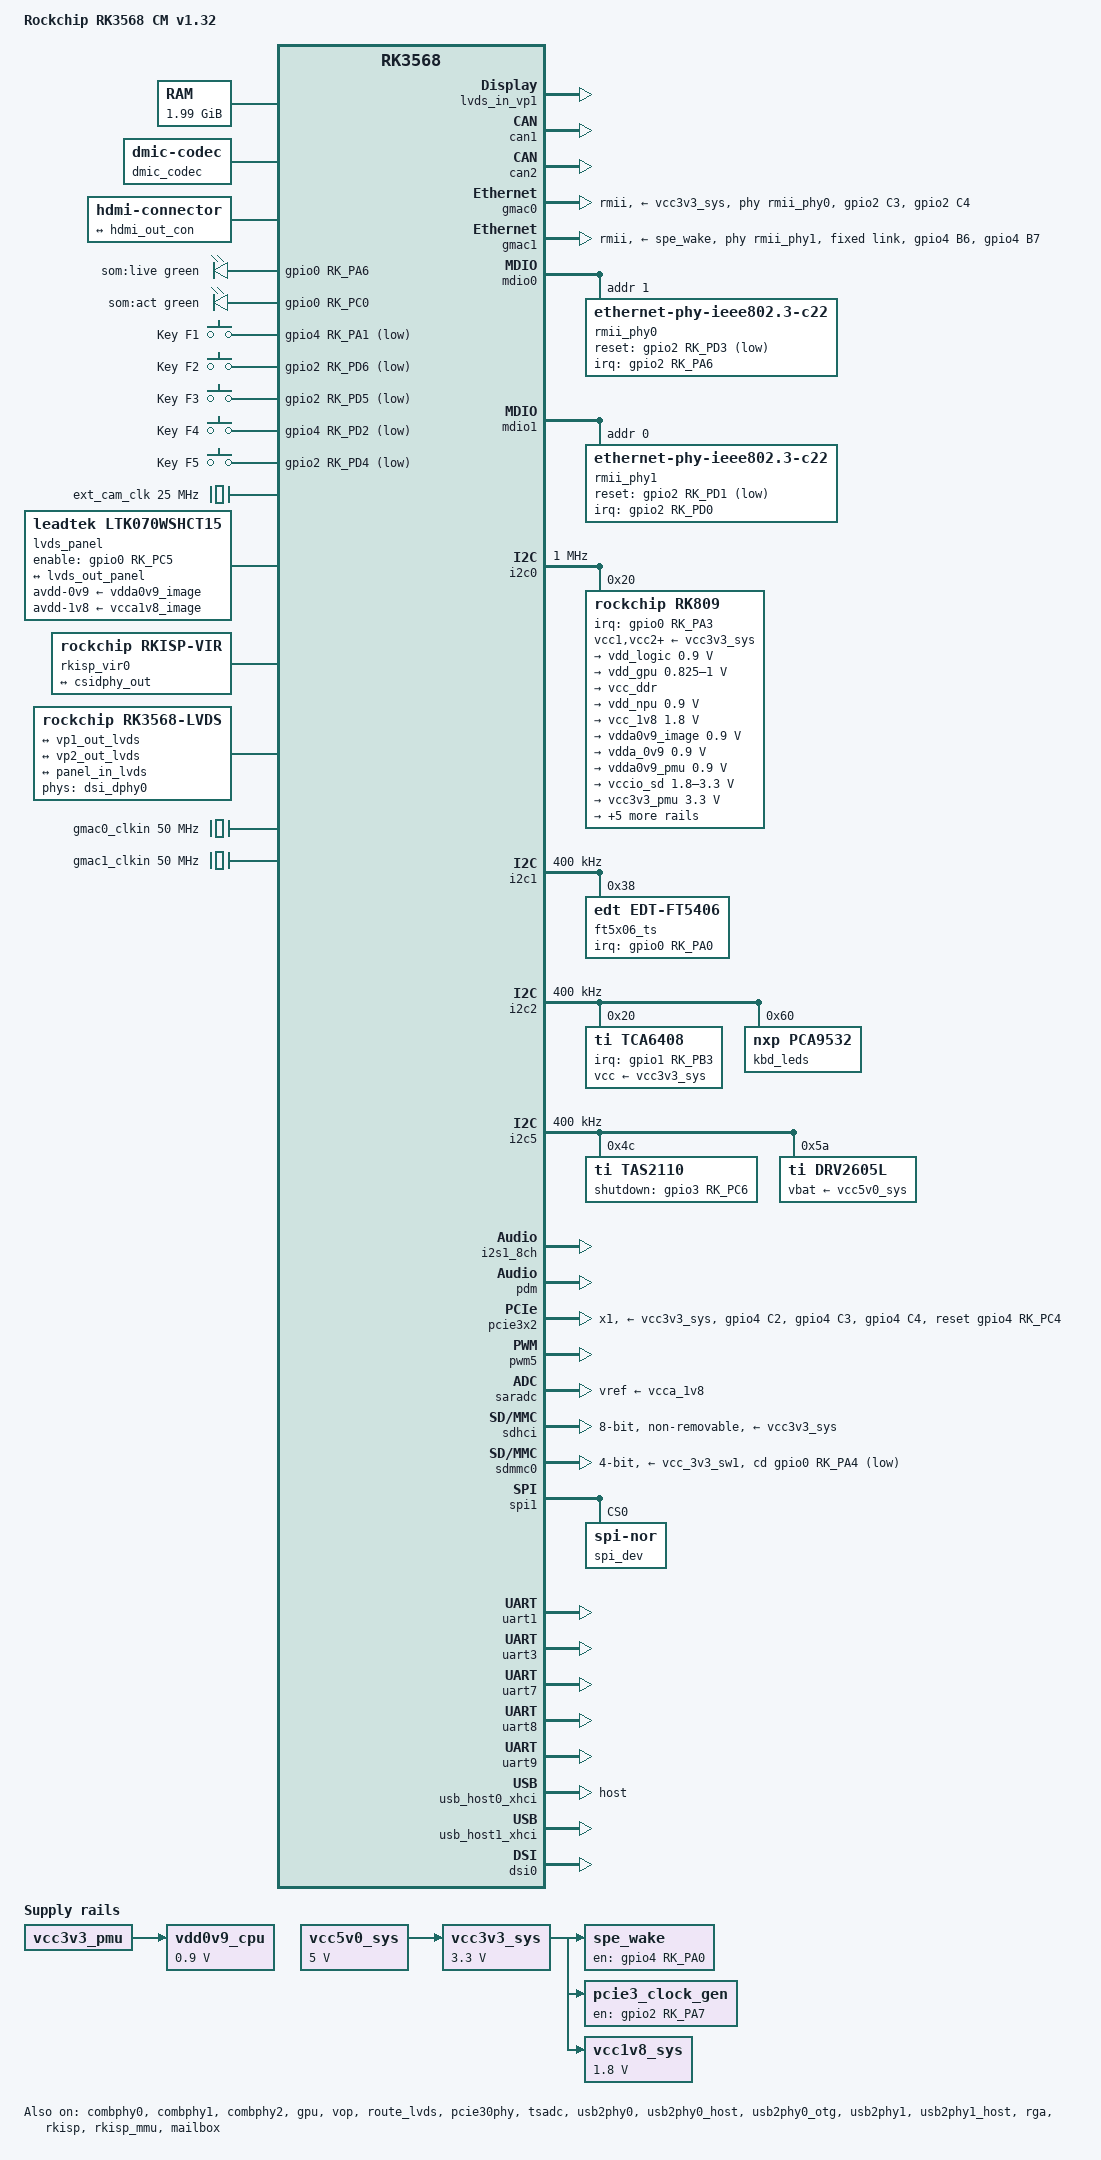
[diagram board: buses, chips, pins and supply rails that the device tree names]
/* SPDX-License-Identifier: GPL-2.0+ */
/* SPDX-FileCopyrightText: Alexander Shiyan <shc_work@mail.ru> */
/* SPDX-FileCopyrightText: Lapki */

/dts-v1/;

#include <dt-bindings/gpio/gpio.h>
#include <dt-bindings/leds/common.h>
#include <dt-bindings/pinctrl/rockchip.h>
#include <dt-bindings/soc/rockchip,vop2.h>
#include <dt-bindings/usb/pd.h>
#include "rk3568_tiny.dtsi"
//#include "rk3568-cdm-evb-options.dtsi"
#include <dt-bindings/leds/leds-pca9532.h>
#include <dt-bindings/display/media-bus-format.h> //new
#include <dt-bindings/input/ti-drv260x.h>

/ {
	model = "Rockchip RK3568 CM v1.32";
	compatible = "rockchip,rk3568";

	aliases {
		ethernet0 = &gmac0;
		ethernet1 = &gmac1;
		mmc0 = &sdmmc0;
		mmc1 = &sdhci;
	};

	fiq-debugger {
		compatible = "rockchip,fiq-debugger";
		rockchip,serial-id = <2>;
		rockchip,wake-irq = <0>;
		/* If enable uart uses irq instead of fiq */
		rockchip,irq-mode-enable = <1>;
		rockchip,baudrate = <1500000>;	/* Only 115200 and 1500000 */
		interrupts = <GIC_SPI 252 IRQ_TYPE_LEVEL_LOW>;
		pinctrl-names = "default";
		pinctrl-0 = <&uart2m0_xfer>;
		status = "okay";
	};

	debug: debug@fd904000 {
		compatible = "rockchip,debug";
		reg = <0x0 0xfd904000 0x0 0x1000>,
			<0x0 0xfd905000 0x0 0x1000>,
			<0x0 0xfd906000 0x0 0x1000>,
			<0x0 0xfd907000 0x0 0x1000>;
	};

	cspmu: cspmu@fd90c000 {
		compatible = "rockchip,cspmu";
		reg = <0x0 0xfd90c000 0x0 0x1000>,
			<0x0 0xfd90d000 0x0 0x1000>,
			<0x0 0xfd90e000 0x0 0x1000>,
			<0x0 0xfd90f000 0x0 0x1000>;
	};

	memory@a00000 {
		device_type = "memory";
		reg = <0x0 0x00a00000 0x0 0x7f600000>;
	};

	backlight: backlight {
		compatible = "pwm-backlight";
		pwms = <&pwm5 0 25000 0>;
//		brightness-levels = <0 255>;
		brightness-levels = <
			 60 60 60 61 61 61 62 62
			 62 63 63 63 64 64 64 65
			 65 65 66 66 66 67 67 67
			 68 68 68 69 69 69 70 70
			 70 71 71 71 72 72 72 73
			 73 73 74 74 74 75 75 75
			 76 76 76 77 77 77 78 78
			 78 79 79 79 80 80 80 81
			 81 81 82 82 82 83 83 83
			 84 84 84 85 85 85 86 86
			 86 87 87 87 88 88 88 89
			 89 89 90 91 92 93 94 95
			 96 97 98 99 100 101 102 103
			104 105 106 107 108 109 110 111
			112 113 114 115 116 117 118 119
			120 121 122 123 124 125 126 127
			128 129 130 131 132 133 134 135
			136 137 138 139 140 141 142 143
			144 145 146 147 148 149 150 151
			152 153 154 155 156 157 158 159
			160 161 162 163 164 165 166 167
			168 169 170 171 172 173 174 175
			176 177 178 179 180 181 182 183
			184 185 186 187 188 189 190 191
			192 193 194 195 196 197 198 199
			200 201 202 203 204 205 206 207
			208 209 210 211 212 213 214 215
			216 217 218 219 220 221 222 223
			224 225 226 227 228 229 230 231
			232 233 234 235 236 237 238 239
			240 241 242 243 244 245 246 247
			248 249 250 251 252 253 254 255
		>;

		num-interpolated-steps = <256>;
		default-brightness-level = <200>;

		status = "disabled";
	};

	dmic_codec: dmic-codec {
		status = "okay";
		compatible = "dmic-codec";
		num-channels = <1>;
		#sound-dai-cells = <0>;
	};

	sound0: tas2110-sound {
		status = "okay";
		compatible = "simple-audio-card";
		simple-audio-card,name = "Cranberry-speaker";
		simple-audio-card,format = "i2s";
		simple-audio-card,bitclock-master = <&sound0_cpu>;
		simple-audio-card,frame-master = <&sound0_cpu>;
		simple-audio-card,mclk-fs = <256>;
		simple-audio-card,bitclock-inversion;
		//simple-audio-card,convert-rate = <48000>;
		simple-audio-card,widgets = "Speaker", "Internal Speaker";
		simple-audio-card,routing = "Internal Speaker", "OUT";
		
		sound0_cpu: simple-audio-card,cpu {
				sound-dai = <&i2s1_8ch>;
			};

		simple-audio-card,codec {
				sound-dai = <&tas2110>;
		
		};
	};

	sound1: pdm-microphone {
		status = "okay";
		compatible = "simple-audio-card";
		simple-audio-card,name = "Cranberry-mic";
		simple-audio-card,format = "pdm";
		simple-audio-card,bitclock-master = <&sound1_cpu>;
		simple-audio-card,frame-master = <&sound1_cpu>;
		simple-audio-card,widgets = "Microphone", "Internal Microphone";
		simple-audio-card,routing = "DMic", "Internal Microphone";
		
		sound1_cpu: simple-audio-card,cpu {
				sound-dai = <&pdm>;
			};

		simple-audio-card,codec {
				sound-dai = <&dmic_codec>;
		
		};
	};





/*
	tas2110_sound: tas2110-sound {
		status = "okay";
		compatible = "simple-audio-card";
		simple-audio-card,format = "i2s";//simple-audio-card,format = "dsp_b";
		simple-audio-card,name = "tas2110-sound";
		simple-audio-card,mclk-fs = <256>;
		simple-audio-card,bitclock-inversion;
		simple-audio-card,frame-master = <&tas2110cpu>;
		simple-audio-card,bitclock-master = <&tas2110cpu>;

		tas2110cpu: simple-audio-card,cpu {
			sound-dai = <&i2s1_8ch>;
			//dai-tdm-slot-num = <2>;
			//dai-tdm-slot-width = <16>;
		};
		simple-audio-card,codec {
			sound-dai = <&tas2110>;
		};
	};
	
	pdm_mic: pdm-mic {
		status = "okay";
		compatible = "simple-audio-card";
		simple-audio-card,name = "pdm-mic";
		simple-audio-card,bitclock-master = <&pdm>;
		simple-audio-card,format = "pdm";
		simple-audio-card,frame-master = <&pdm>;
		simple-audio-card,cpu {
			sound-dai = <&pdm>;
		};
		simple-audio-card,codec {
			sound-dai = <&dmic_codec>;
		};
	};
*/	
	
/*
	pdmics: dmic-codec {
		status = "okay";
		compatible = "dmic-codec";
		num-channels = <1>;
		#sound-dai-cells = <0>;
	};

	pdm_mic_array: pdm-mic-array {
		status = "okay";
		compatible = "simple-audio-card";
		simple-audio-card,name = "rockchip,pdm-mic-array";
		simple-audio-card,cpu {
			sound-dai = <&pdm>;
		};
		simple-audio-card,codec {
			sound-dai = <&pdmics>;
		};
	};
	
*/

	hdmi-con {
		compatible = "hdmi-connector";
		type = "a";

		port {
			hdmi_con_in: endpoint {
				remote-endpoint = <&hdmi_out_con>;
			};
		};
	};

	leds {
		compatible = "gpio-leds";
		pinctrl-names = "default";
		pinctrl-0 = <&leds_pins>;

		led_live {
			label = "som:live";
			gpios = <&gpio0 RK_PA6 GPIO_ACTIVE_HIGH>;
			function = LED_FUNCTION_HEARTBEAT;
			color = <LED_COLOR_ID_GREEN>;
			linux,default-trigger = LED_FUNCTION_HEARTBEAT;
			default-state = "off";
			panic-indicator;
		};

		led_act {
			label = "som:act";
			gpios = <&gpio0 RK_PC0 GPIO_ACTIVE_HIGH>;
			function = LED_FUNCTION_ACTIVITY;
			color = <LED_COLOR_ID_GREEN>;
			linux,default-trigger = LED_FUNCTION_ACTIVITY;
			default-state = "off";
		};
	};

	kbd_keys {
		compatible = "gpio-keys";
        pinctrl-names = "default";
		pinctrl-0 = <&keyboard_pins>;
        #address-cells = <1>;
		#size-cells = <0>;
		autorepeat;

		F1 {
			label = "Key F1";
            gpios = <&gpio4 RK_PA1 GPIO_ACTIVE_LOW>;
			linux,code = <114>;	   // Volume down
			//interrupt-parent = <&gpio4>;
			//interrupts = <RK_PA1 IRQ_TYPE_EDGE_FALLING>;
		};

		F2 {
			label = "Key F2";
			linux,code = <115>;	   // Volume up
            gpios = <&gpio2 RK_PD6 GPIO_ACTIVE_LOW>;
			//interrupt-parent = <&gpio2>;
			//interrupts = <RK_PD6 IRQ_TYPE_EDGE_FALLING>;
		};

		F3 {
			label = "Key F3";
			linux,code = <153>; // Rotate display
            gpios = <&gpio2 RK_PD5 GPIO_ACTIVE_LOW>;            
			//interrupt-parent = <&gpio2>;
			//interrupts = <RK_PD5 IRQ_TYPE_EDGE_FALLING>;
		};

		F4 {
			label = "Key F4";
			linux,code = <224>;	 // Brightness down
            gpios = <&gpio4 RK_PD2 GPIO_ACTIVE_LOW>;
			//interrupt-parent = <&gpio4>;
			//interrupts = <RK_PD2 IRQ_TYPE_EDGE_FALLING>;
		};

		F5 {
			label = "Key F5";
			linux,code = <225>;	 // Brightness up
            gpios = <&gpio2 RK_PD4 GPIO_ACTIVE_LOW>;
			//interrupt-parent = <&gpio2>;
			//interrupts = <RK_PD4 IRQ_TYPE_EDGE_FALLING>;
		};

	};

//Best of the best crutches
//GPIO output control

/*	wireless_disable: wwan-reset-regulator {
		compatible = "regulator-fixed";
		enable-active-high;
		gpio = <&tca6408 2 GPIO_ACTIVE_HIGH>;
		regulator-name = "wwan_reset_n";
		regulator-always-on;
	};
*/
/*	csi_i2c_lvtr: csi-i2c-leveltranslator-regulator {
		compatible = "regulator-fixed";
		enable-active-high;
		gpio = <&tca6408 0 GPIO_ACTIVE_HIGH>;
		regulator-name = "csi_i2c_lvtr";
		regulator-always-on;
	};

	wwan_en: wwan-enable-regulator {
		pinctrl-0 = <&wwan_disable>;
		pinctrl-names = "default";
		compatible = "regulator-fixed";
		enable-active-high;
		gpio = <&gpio4 RK_PA7 GPIO_ACTIVE_HIGH>;
		regulator-name = "wwan_enable";
		regulator-always-on;
	};

	wlan_en: wlan-enable-regulator {
		pinctrl-0 = <&wlan_disable>;
		pinctrl-names = "default";
		compatible = "regulator-fixed";
		enable-active-high;
		gpio = <&gpio4 RK_PB0 GPIO_ACTIVE_HIGH>;
		regulator-name = "wlan_enable";
		regulator-always-on;
	};
*/
	spe_wake: spe-wake-regulator {
		pinctrl-0 = <&spe_wake_pin>;
		pinctrl-names = "default";
		compatible = "regulator-fixed";
		enable-active-high;
		gpio = <&gpio4 RK_PA0 GPIO_ACTIVE_HIGH>;
		regulator-name = "spe_wake";
		vin-supply = <&vcc3v3_sys>;
	};
	
	pcie3_clock_gen: pcie3-clock-regulator {
		pinctrl-0 = <&pcie30_clock_pins>;
		pinctrl-names = "default";
		compatible = "regulator-fixed";
		enable-active-high;
		gpio = <&gpio2 RK_PA7 GPIO_ACTIVE_HIGH>;
		regulator-name = "pcie30_clock";
		startup-delay-us = <10000>;
		vin-supply = <&vcc3v3_sys>;
	};

	/* Should be added in 6.5 */
	rga: rga@fdeb0000 {
		compatible = "rockchip,rk3568-rga", "rockchip,rk3288-rga";
		reg = <0x0 0xfdeb0000 0x0 0x180>;
		interrupts = <GIC_SPI 90 IRQ_TYPE_LEVEL_HIGH>;
		clocks = <&cru ACLK_RGA>, <&cru HCLK_RGA>, <&cru CLK_RGA_CORE>;
		clock-names = "aclk", "hclk", "sclk";
		resets = <&cru SRST_RGA_CORE>, <&cru SRST_A_RGA>, <&cru SRST_H_RGA>;
		reset-names = "core", "axi", "ahb";
		power-domains = <&power RK3568_PD_RGA>;

		status = "okay";
	};

	vcc5v0_sys: vcc5v0-sys-regulator {
		compatible = "regulator-fixed";
		regulator-name = "5v0_sys";
		regulator-min-microvolt = <5000000>;
		regulator-max-microvolt = <5000000>;
	};

	vcc3v3_sys: vcc3v3-sys-regulator {
		compatible = "regulator-fixed";
		regulator-name = "3v3_sys";
		regulator-min-microvolt = <3300000>;
		regulator-max-microvolt = <3300000>;
		vin-supply = <&vcc5v0_sys>;
	};

	vcc1v8_sys: vcc1v8-sys-regulator {
		compatible = "regulator-fixed";
		regulator-name = "1v8_sys";
		regulator-min-microvolt = <1800000>;
		regulator-max-microvolt = <1800000>;
		vin-supply = <&vcc3v3_sys>;
	};

	vdd0v9_cpu: vdd0v9-cpu-regulator {
		compatible = "regulator-fixed";
		regulator-name = "0v9_cpu";
		regulator-min-microvolt = <900000>;
		regulator-max-microvolt = <900000>;
		vin-supply = <&vcc3v3_pmu>;
	};

	ext_cam_clk: external-camera-clock {
		compatible = "fixed-clock";
		clock-frequency = <25000000>;
		clock-output-names = "CLK_CAMERA_25MHZ";
	   #clock-cells = <0>;
	};

	lvds_panel: lvds-panel {
//		compatible = "panel-lvds";
		compatible = "leadtek,ltk070wshct15";
		status = "okay";
		pinctrl-names = "default";
		pinctrl-0 = <&lvds_pins>;
		enable-gpios = <&gpio0 RK_PC5 GPIO_ACTIVE_HIGH>;
//		backlight = <&backlight>;
		enable-delay-ms = <35>;
		prepare-delay-ms = <6>;
		unprepare-delay-ms = <0>;
		disable-delay-ms = <20>;
		bus-format = <MEDIA_BUS_FMT_RGB888_1X7X4_SPWG>;
				bus_format = <MEDIA_BUS_FMT_RGB888_1X7X4_SPWG>;
		avdd-0v9-supply = <&vdda0v9_image>;
		avdd-1v8-supply = <&vcca1v8_image>;

		panel-timing {
//			native-mode = <&timing0>;
//			timing0: timing0 {
				clock-frequency = <72000000>;
				hactive = <1024>;
				vactive = <600>;
				hfront-porch = <50>;
				hsync-len = <10>;
				hback-porch = <50>;
				vfront-porch = <10>;
				vsync-len = <18>;
				vback-porch = <10>;
				hsync-active = <0>;
				vsync-active = <0>;
				de-active = <0>;
				pixelclk-active = <0>;
//			};
		};

		ports {
			#address-cells = <1>;
			#size-cells = <0>;

			port@1 {
				reg = <1>;
				//dual-lvds-even-pixels;
				panel_in_lvds: endpoint 
				{
//					reg = <0>;
					remote-endpoint = <&lvds_out_panel>;
				};
			};
		};
	};

	rkisp: rkisp@fdff0000 {
		compatible = "rockchip,rk3568-rkisp";
		reg = <0x0 0xfdff0000 0x0 0x10000>;
		interrupts = <GIC_SPI 57 IRQ_TYPE_LEVEL_HIGH>,
				 <GIC_SPI 58 IRQ_TYPE_LEVEL_HIGH>,
				 <GIC_SPI 60 IRQ_TYPE_LEVEL_HIGH>;
		interrupt-names = "mipi_irq", "mi_irq", "isp_irq";
		clocks = <&cru ACLK_ISP>, <&cru HCLK_ISP>, <&cru CLK_ISP>;
		clock-names = "aclk_isp", "hclk_isp", "clk_isp";
		resets = <&cru SRST_ISP>, <&cru SRST_H_ISP>;
		reset-names = "isp", "isp-h";
		rockchip,grf = <&grf>;
		power-domains = <&power RK3568_PD_VI>;
		iommus = <&rkisp_mmu>;
		rockchip,iq-feature = /bits/ 64 <0x3FBFFFE67FF>;
		status = "disabled";
	};

	rkisp_mmu: iommu@fdff1a00 {
		compatible = "rockchip,rk3568-iommu";
		reg = <0x0 0xfdff1a00 0x0 0x100>;
		interrupts = <GIC_SPI 59 IRQ_TYPE_LEVEL_HIGH>;
		interrupt-names = "isp_mmu";
		clocks = <&cru ACLK_ISP>, <&cru HCLK_ISP>;
		clock-names = "aclk", "iface";
		power-domains = <&power RK3568_PD_VI>;
		#iommu-cells = <0>;
		rockchip,disable-mmu-reset;
		status = "disabled";
	};

	rkisp_vir0: rkisp-vir0 {
		compatible = "rockchip,rkisp-vir";
		rockchip,hw = <&rkisp>;
		status = "disabled";
	};

	rkisp_vir1: rkisp-vir1 {
		compatible = "rockchip,rkisp-vir";
		rockchip,hw = <&rkisp>;
		status = "disabled";
	};

	lvds: lvds {
		compatible = "rockchip,rk3568-lvds";
		clocks = <&cru PCLK_DSITX_0>;
		clock-names = "pclk_lvds";
		phys = <&dsi_dphy0>;
		phy-names = "dphy";							//"phy"?
		power-domains = <&power RK3568_PD_VO>;
		rockchip,grf = <&grf>;
		rockchip,data-mapping = "vesa-24";
		rockchip,data-width = <24>;
		rockchip,output = "lvds";
		status = "okay";
			ports {
			#address-cells = <1>;
			#size-cells = <0>;

			lvds_in: port@0 {
				reg = <0>;
				#address-cells = <1>;
				#size-cells = <0>;

				lvds_in_vp1: endpoint@0 {
					reg = <0>;
					remote-endpoint = <&vp1_out_lvds>;
					status = "okay";
				};
								lvds_in_vp2: endpoint@2 {
										reg = <2>;
										remote-endpoint = <&vp2_out_lvds>;
										status = "disabled";
								};
			};

			lvds_out: port@1 {
				reg = <1>;
								#address-cells = <1>;
								#size-cells = <0>;
				lvds_out_panel: endpoint@0 {
					reg = <0>;
					remote-endpoint = <&panel_in_lvds>;
					status = "okay";
				};
			};
		};
	};

	mailbox: mailbox@fe780000 {
		compatible = "rockchip,rk3568-mailbox",
				 "rockchip,rk3368-mailbox";
		reg = <0x0 0xfe780000 0x0 0x1000>;
		interrupts = <GIC_SPI 183 IRQ_TYPE_LEVEL_HIGH>,
				 <GIC_SPI 184 IRQ_TYPE_LEVEL_HIGH>,
				 <GIC_SPI 185 IRQ_TYPE_LEVEL_HIGH>,
				 <GIC_SPI 186 IRQ_TYPE_LEVEL_HIGH>;
		clocks = <&cru PCLK_MAILBOX>;
		clock-names = "pclk_mailbox";
		#mbox-cells = <1>;
		status = "okay";
	};

	dmc: memory-controller { //added from mg RK356x.dtsi
		compatible = "rockchip,rk3568-dmc";
		rockchip,pmu = <&pmugrf>;
		status = "okay";
	};

	sdei: sdei {
		compatible = "arm,sdei-1.0";
		method = "smc";
	};

	mpp_srv: mpp-srv {
		compatible = "rockchip,mpp-service";
		rockchip,taskqueue-count = <6>;
		rockchip,resetgroup-count = <6>;
		status = "okay";
	};

	reserved_memory: reserved-memory {
		#address-cells = <2>;
		#size-cells = <2>;
		ranges;

		drm_logo: drm-logo@0 {
			compatible = "rockchip,drm-logo";
			reg = <0x0 0x0 0x0 0x0>;
		};

		drm_cubic_lut: drm-cubic-lut@0 {
			compatible = "rockchip,drm-cubic-lut";
			reg = <0x0 0x0 0x0 0x0>;
		};

		ramoops: ramoops@110000 {
			compatible = "ramoops";
			reg = <0x0 0x110000 0x0 0xf0000>;
			record-size = <0x20000>;
			console-size = <0x80000>;
			ftrace-size = <0x00000>;
			pmsg-size = <0x50000>;
		};
	};

	mpll: mpll {
		compatible = "fixed-clock";
		#clock-cells = <0>;
		clock-frequency = <800000000>;
		clock-output-names = "mpll";
	};
	
	gmac0_clkin: external-gmac0-clock {
		compatible = "fixed-clock";
		clock-frequency = <50000000>;
		clock-output-names = "gmac0_clkin";
		#clock-cells = <0>;
	};
	
	gmac1_clkin: external-gmac1-clock {
		compatible = "fixed-clock";
		clock-frequency = <50000000>;
		clock-output-names = "gmac1_clkin";
		#clock-cells = <0>;
	};


};

&can1 {
	pinctrl-names = "default";
	pinctrl-0 = <&can1m0_pins>;
	status = "okay";
};

&can2 {
	pinctrl-names = "default";
	pinctrl-0 = <&can2m1_pins>;
	status = "okay";
};


&combphy0 {
	/* USB3.0 OTG0 */
	status = "okay";
};

&combphy1 {
	/* USB3.0 HOST1 */
	status = "okay";
};

&combphy2 {
	/* SGMII */
	status = "okay";
};

//Add opp tables from rk3568j
&cpu0_opp_table {
	/delete-node/ opp-408000000;
	/delete-node/ opp-600000000;
	/delete-node/ opp-816000000;
	/delete-node/ opp-1104000000;
	/delete-node/ opp-1416000000;

	opp-1416000000 {
		opp-hz = /bits/ 64 <1416000000>;
		opp-microvolt = <900000 900000 900000>;
		clock-latency-ns = <40000>;
	};
};

&gpu_opp_table {
	/delete-node/ opp-200000000;
	/delete-node/ opp-300000000;
	/delete-node/ opp-400000000;
	/delete-node/ opp-600000000;
	/delete-node/ opp-700000000;
	/delete-node/ opp-800000000;
	opp-600000000 {
		opp-hz = /bits/ 64 <600000000>;
		opp-microvolt = <900000>;
	};
};


&cpu1 {
	cpu-supply = <&vdd0v9_cpu>;
};

&cpu2 {
	cpu-supply = <&vdd0v9_cpu>;
};

&cpu3 {
	cpu-supply = <&vdd0v9_cpu>;
};

&csi_dphy {
	status = "disabled";
	ports {
		#address-cells = <1>;
		#size-cells = <0>;
		port@0 {
			reg = <0>;
			#address-cells = <1>;
			#size-cells = <0>;

			csi_mipi_in: endpoint@0 {
				reg = <0>;
				remote-endpoint = <&ov5647_out>;
				data-lanes = <1 2>;
			};
		};
		port@1 {
			reg = <1>;
			#address-cells = <1>;
			#size-cells = <0>;
			csidphy_out: endpoint@0 {
				reg = <0>;
				remote-endpoint = <&isp0_in>;
			};
		};
	};
};

&rkisp {
   status = "okay";
};

&rkisp_mmu {
   status = "okay";
};

&rkisp_vir0 {
   status = "okay";
   port {
	  #address-cells = <1>;
	  #size-cells = <0>;

	  isp0_in: endpoint@0 {
		 reg = <0>;
		 remote-endpoint = <&csidphy_out>;
	  };
   };
};

&gmac0 { // regular ethernet DP83826I
	status = "okay";
	assigned-clocks = <&cru SCLK_GMAC0_RX_TX>, <&cru SCLK_GMAC0>;
	assigned-clock-parents = <&cru SCLK_GMAC0_RMII_SPEED>, <&gmac0_clkin>;
	assigned-clock-rates = <0>, <50000000>;

	pinctrl-names = "default";
	pinctrl-0 = <&gmac0_miim &gmac0_clkinout &gmac0_tx_bus2 &gmac0_rx_bus2>;
	clock_in_out = "input";
	phy-handle = <&rmii_phy0>;
	phy-mode = "rmii";
	phy-supply = <&vcc3v3_sys>;

};

&gmac1 { //SPE DP83TC812S
	status = "okay";
	assigned-clocks = <&cru SCLK_GMAC1_RX_TX>, <&cru SCLK_GMAC1>;
	assigned-clock-parents = <&cru SCLK_GMAC1_RMII_SPEED>, <&gmac1_clkin>;
	assigned-clock-rates = <0>, <50000000>;
	clock_in_out = "input";
	pinctrl-names = "default";
	pinctrl-0 = <&gmac1m1_miim &gmac1m1_clkinout &gmac1m1_rx_bus2 &gmac1m1_tx_bus2>;

	power-domains = <&power RK3568_PD_PIPE>;
//	snps,reset-gpio = <&gpio2 RK_PD1 GPIO_ACTIVE_LOW>;
//	snps,reset-active-low;
//	snps,reset-delays-us = <0 10000 50000>;
	phy-mode = "rmii";
	phy-handle = <&rmii_phy1>;
		phy-supply = <&spe_wake>;
//		max-speed = <100>;

	fixed-link
	{
		speed = <100>;
		full-duplex;
	};

};

&mdio0 { //regular ETH
	rmii_phy0: ethernet-phy@0 {
		compatible = "ethernet-phy-ieee802.3-c22";
		reg = <0x1>;
			max-speed = <100>;
		pinctrl-names = "default";
		pinctrl-0 = <&gmac0_pins>;
		reset-assert-us = <10000>;
		reset-deassert-us = <50000>;
		reset-gpios = <&gpio2 RK_PD3 GPIO_ACTIVE_LOW>;
		interrupt-parent = <&gpio2>;
		interrupts = <RK_PA6 IRQ_TYPE_EDGE_FALLING>;
	};
};

&mdio1 { //SPE
	rmii_phy1: ethernet-phy@1 {
		compatible = "ethernet-phy-ieee802.3-c22";
//"ethernet-phy-id2000.a271";//, "ethernet-phy-ieee802.3-c22"; // add dp83tc812 0x2000a270
		reg = <0x0>;
		pinctrl-names = "default";
		pinctrl-0 = <&gmac1_pins>;
		reset-assert-us = <10000>;
		reset-deassert-us = <50000>;
		reset-gpios = <&gpio2 RK_PD1 GPIO_ACTIVE_LOW>;
		interrupt-parent = <&gpio2>;
		interrupts = <RK_PD0 IRQ_TYPE_EDGE_FALLING>;
	};
};


&gpu {
	mali-supply = <&vdd_gpu>;
	status = "okay";
};


&hdmi {
//	avdd-0v9-supply = <&vdda0v9_image>;
//	avdd-1v8-supply = <&vcca1v8_image>;
	status = "disabled";
};

&hdmi_in {
	hdmi_in_vp0: endpoint
	{
		remote-endpoint = <&vp0_out_hdmi>;
	};
		hdmi_in_vp1: endpoint@1 
	{
		remote-endpoint = <&vp1_out_hdmi>;
		status = "disabled";
		};
};

&hdmi_out {
	hdmi_out_con: endpoint {
		remote-endpoint = <&hdmi_con_in>;
	};
};

&hdmi_sound {
	status = "disabled";
};


&vop {
	assigned-clocks = <&cru DCLK_VOP0>, <&cru DCLK_VOP1>;
	assigned-clock-parents = <&pmucru PLL_HPLL>, <&cru PLL_VPLL>;
	//disable-win-move;

	status = "okay";
};

&vop_mmu {
	status = "okay";
};


&route_lvds {
	status = "okay";
	connect = <&vp1_out_lvds>;
};

&i2c0 { //PMIC
	clock-frequency = <1000000>;
	status = "okay";

	rk809: pmic@20 {
		pinctrl-names = "default";
		pinctrl-0 = <&pmic_pins &pmic_int_pins>;
		compatible = "rockchip,rk809";
		reg = <0x20>;
		interrupt-parent = <&gpio0>;
		interrupts = <RK_PA3 IRQ_TYPE_LEVEL_LOW>;
		rockchip,system-power-controller;
		vcc1-supply = <&vcc3v3_sys>;
		vcc2-supply = <&vcc3v3_sys>;
		vcc3-supply = <&vcc3v3_sys>;
		vcc4-supply = <&vcc3v3_sys>;
		vcc5-supply = <&vcc3v3_sys>;
		vcc6-supply = <&vcc3v3_sys>;
		vcc7-supply = <&vcc3v3_sys>;
		vcc8-supply = <&vcc3v3_sys>;
		vcc9-supply = <&vcc3v3_sys>;
		wakeup-source;

		regulators {
			vdd_logic: DCDC_REG1 {
				regulator-name = "vdd_logic";
				regulator-always-on;
				regulator-boot-on;
				regulator-initial-mode = <0x2>;
				regulator-min-microvolt = <900000>;
				regulator-max-microvolt = <900000>;
				regulator-ramp-delay = <6001>;

				regulator-state-mem {
					regulator-off-in-suspend;
				};
			};

			vdd_gpu: DCDC_REG2 {
				regulator-name = "vdd_gpu";
				regulator-always-on;
				regulator-initial-mode = <0x2>;
				regulator-min-microvolt = <825000>;
				regulator-max-microvolt = <1000000>;
				regulator-ramp-delay = <6001>;

				regulator-state-mem {
					regulator-off-in-suspend;
				};
			};

			vcc_ddr: DCDC_REG3 {
				regulator-name = "vcc_ddr";
				regulator-always-on;
				regulator-boot-on;
				regulator-initial-mode = <0x2>;

				regulator-state-mem {
					regulator-on-in-suspend;
				};
			};

			vdd_npu: DCDC_REG4 {
				regulator-name = "vdd_npu";
				regulator-initial-mode = <0x2>;
				regulator-min-microvolt = <900000>;
				regulator-max-microvolt = <900000>;
				regulator-ramp-delay = <6001>;

				regulator-state-mem {
					regulator-off-in-suspend;
				};
			};

			vcc_1v8: DCDC_REG5 {
				regulator-name = "vcc_1v8";
				regulator-always-on;
				regulator-boot-on;
				regulator-min-microvolt = <1800000>;
				regulator-max-microvolt = <1800000>;

				regulator-state-mem {
					regulator-off-in-suspend;
				};
			};

			vdda0v9_image: LDO_REG1 {
				regulator-name = "vdda0v9_image";
				regulator-min-microvolt = <900000>;
				regulator-max-microvolt = <900000>;
								regulator-always-on;
								regulator-boot-on;
				regulator-state-mem {
					regulator-off-in-suspend;
				};
			};

			vdda_0v9: LDO_REG2 {
				regulator-name = "vdda_0v9";
				regulator-always-on;
				regulator-boot-on;
				regulator-min-microvolt = <900000>;
				regulator-max-microvolt = <900000>;

				regulator-state-mem {
					regulator-off-in-suspend;
				};
			};

			vdda0v9_pmu: LDO_REG3 {
				regulator-name = "vdda0v9_pmu";
				regulator-always-on;
				regulator-boot-on;
				regulator-min-microvolt = <900000>;
				regulator-max-microvolt = <900000>;

				regulator-state-mem {
					regulator-on-in-suspend;
					regulator-suspend-microvolt = <900000>;
				};
			};

			vccio_sd: LDO_REG5 {
				regulator-name = "vccio_sd";
				regulator-min-microvolt = <1800000>;
				regulator-max-microvolt = <3300000>;

				regulator-state-mem {
					regulator-off-in-suspend;
				};
			};

			vcc3v3_pmu: LDO_REG6 {
				regulator-name = "vcc3v3_pmu";
				regulator-always-on;
				regulator-boot-on;
				regulator-min-microvolt = <3300000>;
				regulator-max-microvolt = <3300000>;

				regulator-state-mem {
					regulator-on-in-suspend;
					regulator-suspend-microvolt = <3300000>;
				};
			};

			vcca_1v8: LDO_REG7 {
				regulator-name = "vcca_1v8";
				regulator-always-on;
				regulator-boot-on;
				regulator-min-microvolt = <1800000>;
				regulator-max-microvolt = <1800000>;

				regulator-state-mem {
					regulator-off-in-suspend;
				};
			};

			vcca1v8_pmu: LDO_REG8 {
				regulator-name = "vcca1v8_pmu";
				regulator-always-on;
				regulator-boot-on;
				regulator-min-microvolt = <1800000>;
				regulator-max-microvolt = <1800000>;

				regulator-state-mem {
					regulator-on-in-suspend;
					regulator-suspend-microvolt = <1800000>;
				};
			};

			vcca1v8_image: LDO_REG9 {
				regulator-name = "vcca1v8_image";
				regulator-min-microvolt = <1800000>;
				regulator-max-microvolt = <1800000>;
								regulator-always-on;
								regulator-boot-on;
				regulator-state-mem {
					regulator-off-in-suspend;
				};
			};

			vcc_3v3_sw1: SWITCH_REG1 {
				regulator-name = "vcc_3v3_sw1";
				regulator-always-on;
				regulator-boot-on;

				regulator-state-mem {
					regulator-off-in-suspend;
				};
			};

			vcc_3v3_sw2: SWITCH_REG2 {
				regulator-name = "vcc_3v3_sw2";
				regulator-always-on;
				regulator-boot-on;

				regulator-state-mem {
					regulator-off-in-suspend;
				};
			};
		};
	};
};

&i2c1 { //Touch
	clock-frequency = <400000>;
	status = "okay";
	#address-cells = <1>;
	#size-cells = <0>;

	ft5x06_ts@38 {
		compatible = "edt,edt-ft5406", "edt,edt-ft5x06";
		reg = <0x38>;
		pinctrl-names = "default";
		pinctrl-0 = <&touch_gpio>;

		interrupt-parent = <&gpio0>;
		interrupts = <RK_PA0 IRQ_TYPE_EDGE_FALLING>;

//		reset-gpios = <&gpio4 RK_PD1 GPIO_ACTIVE_LOW>;

		touchscreen-size-x = <1024>;
		touchscreen-size-y = <600>;
//		touchscreen-inverted-x = <1>;
//		touchscreen-inverted-y = <1>;

		status = "okay";
	};
};

&i2c2 {
	status = "okay";
	pinctrl-names = "default";
	#address-cells = <1>;
	#size-cells = <0>;
	pinctrl-0 = <&i2c2m1_xfer>; //changed to mux1
	clock-frequency = <400000>;

	tca6408: gpio@20 {
		status = "okay";
		compatible = "ti,tca6408";
		interrupt-parent = <&gpio1>;
		interrupts = <RK_PB3 IRQ_TYPE_EDGE_FALLING>;
		reg = <0x20>;
		vcc-supply = <&vcc3v3_sys>;
		gpio-controller;
		#gpio-cells = <2>;
		interrupt-controller;
		#interrupt-cells = <2>;
		gpio-line-names =
				"CAN2_FLT_LV",
				"CAN2_SILENT_EN_LV",
				"CAN1_FLT_LV",
				"CAN1_SILENT_EN_LV",
				"RS485/J1708_TX_EN_LV",
				"RS232_LOOP_BACK_LV",
				"nRE/DE485/F232_LV";

	};

	kbd_leds: pca9532@60 {
		status = "okay";
		compatible = "nxp,pca9532";
		reg = <0x60>;
		
		blue_f3 {
			label = "F3:blue";
			type = <PCA9532_TYPE_LED>;
			default-state = "off";
		};
		bkl_f3 {
			label = "F3:bkl";
			type = <PCA9532_TYPE_LED>;
			default-state = "on";
		};
		yellow_f3 {
			label = "F3:yellow";
			type = <PCA9532_TYPE_LED>;
			default-state = "off";
		};
		blue_f2 {
			label = "F2:blue";
			type = <PCA9532_TYPE_LED>;
			default-state = "off";
		};
		bkl_f2 {
			label = "F2:bkl";
			type = <PCA9532_TYPE_LED>;
			default-state = "on";
		};
		yellow_f2 {
			label = "F2:yellow";
			type = <PCA9532_TYPE_LED>;
			default-state = "off";
		};
		blue_f4 {
			label = "F4:blue";
			type = <PCA9532_TYPE_LED>;
			default-state = "off";
		};
		bkl_f4 {
			label = "F4:bkl";
			type = <PCA9532_TYPE_LED>;
			default-state = "on";
		};
		yellow_f4 {
			label = "F4:yellow";
			type = <PCA9532_TYPE_LED>;
			default-state = "off";
		};
		blue_f5 {
			label = "F5:blue";
			type = <PCA9532_TYPE_LED>;
			default-state = "off";
		};
		bkl_f5 {
			label = "F5:bkl";
			type = <PCA9532_TYPE_LED>;
			default-state = "on";
		};
		yellow_f5 {
			label = "F5:yellow";
			type = <PCA9532_TYPE_LED>;
			default-state = "off";
		};
		blue_f1 {
			label = "F1:blue";
			type = <PCA9532_TYPE_LED>;
			default-state = "off";
		};
		bkl_f1 {
			label = "F1:bkl";
			type = <PCA9532_TYPE_LED>;
			default-state = "on";
		};
		yellow_f1 {
			label = "F1:yellow";
			type = <PCA9532_TYPE_LED>;
			default-state = "off";
		};
	};

};

&i2c4 { //CSI I2C
	clock-frequency = <400000>;
	#address-cells = <1>;
	#size-cells = <0>;
	status = "disabled";

	camera0: ov5647@36 {
		compatible = "ovti,ov5647";
		reg = <0x36>;
		clocks = <&ext_cam_clk>;

		power-domains = <&power RK3568_PD_VI>;
		status = "disabled";
		pinctrl-names = "default";
		pinctrl-0 = <&csi0_pins>;
		//enable-gpios = <&gpio0 RK_PC1 GPIO_OPEN_DRAIN>;
		rockchip,camera-module-index = <0>;
		rockchip,camera-module-facing = "back";
		rockchip,camera-module-name = "RPi-Cam";
		rockchip,camera-module-lens-name = "default";
		port {
			ov5647_out: endpoint {
				remote-endpoint = <&csi_mipi_in>;
				data-lanes = <1 2>;
			};
		};
	};


};

&i2c5 {
	status = "okay";
	pinctrl-names = "default";
	#address-cells = <1>;
	#size-cells = <0>;
	pinctrl-0 = <&i2c5m1_xfer>;
	clock-frequency = <400000>;


	tas2110: tas2110@4c {
		reg = <0x4c>;
		compatible = "ti,tas2110";
		#sound-dai-cells = <0>;
		clocks = <&cru I2S1_MCLKOUT_TX>;
		assigned-clocks = <&cru I2S1_MCLKOUT_TX>;
		assigned-clock-rates = <11289600>;
		assigned-clock-parents = <&cru CLK_I2S1_8CH_TX>;
		
		//ti,left-channel = <0x4c>;
		//ti,channels = <1>; /* channel number */
		shutdown-gpios = <&gpio3 RK_PC6 GPIO_ACTIVE_HIGH>;

		ti,imon-slot-no = <0>;
		ti,vmon-slot-no = <2>;
		status = "okay";
	};
	
	drv2605l: drv2605l@5a {
		reg = <0x5a>;
	compatible = "ti,drv2605l";
	vbat-supply = <&vcc5v0_sys>;
		mode = <DRV260X_ERM_MODE>;
		library-sel = <DRV260X_ERM_LIB_A>;
	};
};

&i2s0_8ch {
	/* HDMI Sound */
	status = "disabled";
};

&i2s1_8ch {
	/* I2S Sound */
	pinctrl-0 = <
		&i2s1m1_sclktx		/* I2S1_TX_SCLK */
		&i2s1m1_lrcktx		/* I2S1_TX_LRCK */
		&i2s1m1_sdo0		/* I2S1_SDO0 */
	>;
	//rockchip,clk-trcm = <1>;
	//rockchip,i2s-tx-route = <0>;
	rockchip,trcm-sync-tx-only;
	status = "okay";
};

&pdm {
	pinctrl-names = "default";
	pinctrl-0 = <&pdmm0_clk &pdmm0_sdi1>;
	//rockchip,path-map = <1>, <2>, <0>, <3>;
	status = "okay";
};

/*&pcie3x1 {
	//Deprecated
	num-lanes = <1>;
	/delete-property/ num-ib-windows;
	/delete-property/ num-ob-windows;
	rockchip,bifurcation;
	pinctrl-names = "default";
	pinctrl-0 = <&pcie30x1_pins>;
	reset-gpios = <&gpio0 RK_PC3 GPIO_ACTIVE_HIGH>;//reset-gpios = <&gpio4 RK_PC4 GPIO_ACTIVE_HIGH>;
	vpcie3v3-supply = <&vcc3v3_sys>;
	status = "okay";
};
*/

&pcie3x2 {
	// Deprecated
	/delete-property/ num-ib-windows;
	/delete-property/ num-ob-windows;
	// reg & ranges should be fixed in 6.5
	num-lanes = <1>;
	pinctrl-names = "default";
	rockchip,bifurcation;
	pinctrl-0 = <&pcie30x2_pins>;
	reset-gpios = <&gpio4 RK_PC4 GPIO_ACTIVE_HIGH>;
	vpcie3v3-supply = <&vcc3v3_sys>;
	status = "okay";
};


&pcie30phy {
	//data-lanes = <1 2>;
	phy-supply = <&pcie3_clock_gen>; //Enable clock out
	status = "okay";
};


&pmu_io_domains {
	pmuio1-supply = <&vcc3v3_pmu>;
	pmuio2-supply = <&vcc3v3_pmu>;
	vccio1-supply = <&vcc_1v8>;
	vccio2-supply = <&vcc_1v8>;
	vccio3-supply = <&vccio_sd>;
	vccio4-supply = <&vcc_1v8>;
	vccio5-supply = <&vcc_1v8>;
	vccio6-supply = <&vcc_1v8>;
	vccio7-supply = <&vcc_3v3_sw1>;
	status = "okay";
};

&pwm5 { //LVDS Backlight
	status = "okay";
};

&saradc {
	vref-supply = <&vcca_1v8>;
	status = "okay";
};

&sdhci {
	pinctrl-names = "default";
	pinctrl-0 = <&emmc_bus8 &emmc_clk &emmc_cmd &emmc_datastrobe &emmc_rstnout>;
	bus-width = <8>;
	max-frequency = <200000000>;
	non-removable;
	no-mmc-hs400;
	no-sd;
	no-sdio;
	vmmc-supply = <&vcc3v3_sys>;
	vqmmc-supply = <&vcc_1v8>;
	status = "okay";
};

&sdmmc0 {
	pinctrl-names = "default";
	pinctrl-0 = <&sdmmc0_bus4 &sdmmc0_clk &sdmmc0_cmd &sdmmc0_det>; //&sdmmc0_pwren>;
	bus-width = <4>;
	cap-mmc-highspeed;
	cap-sd-highspeed;
	cd-gpios = <&gpio0 RK_PA4 GPIO_ACTIVE_LOW>;
	disable-wp;
	sd-uhs-sdr104;
	vmmc-supply = <&vcc_3v3_sw1>;
	vqmmc-supply = <&vccio_sd>;
	status = "okay";
};

&spi1 {
	pinctrl-0 = <&spi1m1_pins_hs &spi1m1_cs0_hs>;
	num-cs = <1>;
	status = "okay";

	spi_dev@0 {
		compatible = "jedec,spi-nor";
		reg = <0>;
	};
};

&spi2 {
	pinctrl-0 = <&spi2m1_pins_hs &spi2m1_cs0_hs>;
	num-cs = <1>;
	status = "disabled";

};

&tsadc {
	rockchip,hw-tshut-temp = <95000>;
	rockchip,hw-tshut-mode = <0>;
	rockchip,hw-tshut-polarity = <0>;
	status = "okay";
};

&uart1 {
	pinctrl-0 = <&uart1m1_xfer>;
	status = "okay";
};

&uart2 {
	status = "disabled";
};

&uart3 {
	pinctrl-0 = <&uart3m1_xfer>;
	status = "okay";
};

&uart7 {
	pinctrl-0 = <&uart7m1_xfer>;
	status = "okay";
};

&uart8 {
	pinctrl-0 = <&uart8m1_xfer>;
	status = "okay";
};

&uart9 {
	pinctrl-0 = <&uart9m1_xfer>;
	status = "okay";
};


&usb_host0_xhci {
	dr_mode = "host";
	status = "okay";
};

&usb_host1_xhci {
	status = "okay";
};

&usb2phy0 {
	status = "okay";
};

&usb2phy0_host {
	phy-supply = <&vcc5v0_sys>;
	status = "okay";
};

&usb2phy0_otg {
	phy-supply = <&vcc5v0_sys>;
	status = "okay";
};

&usb2phy1 {
	status = "okay";
};

&usb2phy1_host {
	phy-supply = <&vcc5v0_sys>;
	status = "okay";
};

&dsi0 {
	status= "okay";
};

&pinctrl {
	//TEMP!!!
	//pinctrl-0 = <&csi0_pins &lvds_pins>;
	//pinctrl-names = "default";

	  gmac0 {
		gmac0_miim: gmac0-miim {
			rockchip,pins =
				/* gmac0_mdc */
				<2 RK_PC3 2 &pcfg_pull_up>,
				/* gmac0_mdio */
				<2 RK_PC4 2 &pcfg_pull_up>;
		};
	  };

	  gmac1 {
		gmac1m1_miim: gmac1m1-miim {
			rockchip,pins =
				/* gmac1_mdcm1 */
				<4 RK_PB6 3 &pcfg_pull_up_drv_level_10>,
				/* gmac1_mdiom1 */
				<4 RK_PB7 3 &pcfg_pull_up_drv_level_10>;

		};

	 };

	csi {
		csi0_pins: csi0_pins {
			rockchip,pins =
				<0 RK_PC1 RK_FUNC_GPIO &pcfg_pull_up>,		/* CSI_PWREN0 */
				<3 RK_PB6 RK_FUNC_GPIO &pcfg_pull_up>,		/* CSI_RESET0# */
				<4 RK_PC0 RK_FUNC_GPIO &pcfg_pull_up>;		/* CSI_INT# */
		};

	};

	lvds {
		lvds_pins: lvds_pins {
			rockchip,pins =
				<0 RK_PC5 RK_FUNC_GPIO &pcfg_pull_up>,	/* LVDS_PWREN */
				<4 RK_PD1 RK_FUNC_GPIO &pcfg_pull_up>;	/* LVDS_RESET# */
		};
	};

	leds {
		leds_pins: leds_pins {
			rockchip,pins =
				<0 RK_PA6 RK_FUNC_GPIO &pcfg_pull_none>,	/* LED1 */
				<0 RK_PC0 RK_FUNC_GPIO &pcfg_pull_none>;	/* LED2 */
		};
	};
    
    keyboard  {
        keyboard_pins: keyboard-pins {
			rockchip,pins =
                <4 RK_PA1 RK_FUNC_GPIO &pcfg_pull_none>,    //Key F1
                <2 RK_PD6 RK_FUNC_GPIO &pcfg_pull_none>,    //Key F2
                <2 RK_PD5 RK_FUNC_GPIO &pcfg_pull_none>,    //Key F3
                <4 RK_PD2 RK_FUNC_GPIO &pcfg_pull_none>,    //Key F4
                <2 RK_PD4 RK_FUNC_GPIO &pcfg_pull_none>;    //Key F5
		};
        
    };

	net {
		gmac0_pins: gmac0_pins {
			rockchip,pins =
				<2 RK_PA6 RK_FUNC_GPIO &pcfg_pull_up>,	/* ETH_nPWDN/nINT */
				<2 RK_PD3 RK_FUNC_GPIO &pcfg_pull_up>;	/* GMAC0_RST */
		};

		gmac1_pins: gmac1_pins {
			rockchip,pins =
				<2 RK_PD0 RK_FUNC_GPIO &pcfg_pull_up>,	/* SPE nINT */
				<2 RK_PD1 RK_FUNC_GPIO &pcfg_pull_up>;	/* GMAC1_RST */
		};
		
		spe_wake_pin: spe-wake-pin{
			rockchip,pins =
				<4 RK_PA3 RK_FUNC_GPIO &pcfg_pull_down>;	/* SPE Wake */
		};
	};


	pcie30 {
		
		pcie30x1_pins: pcie30x1_pins {
			rockchip,pins =
				<0 RK_PC3 RK_FUNC_GPIO &pcfg_pull_none>;	// PCIE30X1_PERSTn_M1
		};
		/* pcie30x1 pins
				<2 RK_PD2 4 &pcfg_pull_none>,			// PCIE30X1_CLKREQn_M1 
				<2 RK_PD3 4 &pcfg_pull_none>,			// PCIE30X1_WAKEn_M1 
		*/

		pcie30x2_pins: pcie30x2_pins {
			rockchip,pins =
				<4 RK_PC2 4 &pcfg_pull_none>,			// PCIE30X2_CLKREQn_M2
				<4 RK_PC3 4 &pcfg_pull_none>,			// PCIE30X2_WAKEn_M2
				<4 RK_PC4 RK_FUNC_GPIO &pcfg_pull_none>;	// PCIE30X2_PERSTn_M2
		};

		pcie30_clock_pins: pcie30_clock_pins {
			rockchip,pins =
				<2 RK_PA7 RK_FUNC_GPIO &pcfg_pull_none>;	/* PCIECLKIC_OE */
		};

	};

	pmic {
		pmic_int_pins: pmic_int_pins {
			rockchip,pins =
				<0 RK_PA3 RK_FUNC_GPIO &pcfg_pull_up>;		/* PMIC_IRQ# */
		};
	};

	stm32_interact {
		stm32_interaction: stm32_interaction {
			rockchip,pins =
				<0 RK_PD4 RK_FUNC_GPIO &pcfg_pull_none>,	/* STM_PE12_LATCH */
				<1 RK_PA7 RK_FUNC_GPIO &pcfg_pull_down>,	/* STM_PD12 */
				<1 RK_PA4 RK_FUNC_GPIO &pcfg_pull_down>,	/* STM_PD13 */
				<2 RK_PA5 RK_FUNC_GPIO &pcfg_pull_down>,	/* STM_PD14 */
				<3 RK_PD5 RK_FUNC_GPIO &pcfg_pull_down>,	/* STM_RST */
				<2 RK_PD2 RK_FUNC_GPIO &pcfg_pull_up>,		/* STMCTRL_nEN */
				<3 RK_PD4 RK_FUNC_GPIO &pcfg_pull_down>;	/* STM_BOOT0 */
		};
	};
	
	debug_mode
	{
		debug_gpio: debug-gpio {
			rockchip,pins =
				<4 RK_PA0 RK_FUNC_GPIO &pcfg_pull_down>;
		};
	};

	touch {
		touch_gpio: touch-gpio {
			rockchip,pins =
				<0 RK_PA0 RK_FUNC_GPIO &pcfg_pull_up>; /* CTP INT# */
//				<4 RK_PD1 RK_FUNC_GPIO &pcfg_pull_up>; /* CTP RST# */	//THIS IS LVDS RESET, NOT TACHSKRIN, 
											//ALREADY CFGred in lvds_pins
		};
	};

	wireless {
		wireless_disable: wireless-disable {
			rockchip,pins =
				<2 RK_PC1 RK_FUNC_GPIO &pcfg_pull_up>;
		};
	};
	
	lcd {
		lcd_orientation: lcd-orientation {
			rockchip,pins =
				<1 RK_PB1 RK_FUNC_GPIO &pcfg_pull_down>,  /* LCD U/D */
				<1 RK_PB0 RK_FUNC_GPIO &pcfg_pull_up>;	/* LCD L/R */
		};
	};
	
	usd {
		usd_switch: usd-switch {
			rockchip,pins =
				<1 RK_PA3 RK_FUNC_GPIO &pcfg_pull_up>;	/* SDSW SEL OUT 1 - uSD A, 0 - uSD B*/
		};
	};
	
//	  sdmmc0 {
//		  sdmmc0_pwren: sdmmc0-pwren {
//			rockchip,pins =
//				/* sdmmc0_pwren */
//				<1 RK_PA2 RK_FUNC_GPIO 1 &pcfg_pull_up_drv_level_2>;  /* SD SW EN */
//	};
//	  };
	
	mezz {
		mezz_gpios: mezz-gpios {
			rockchip,pins =
				<2 RK_PA4 RK_FUNC_GPIO &pcfg_pull_none>,  /* GNSS TPULSE (MEZZ0_GNSS_GPIO) */
				<2 RK_PC6 RK_FUNC_GPIO &pcfg_pull_none>;  /* SOM RF GPIO (Secondary GNSS TPULSE)*/
		};
	};
	
	sound_pins {
		i2s_amp: i2s-amp {
			rockchip,pins =
				<3 RK_PD3 RK_FUNC_GPIO &pcfg_pull_up>,	/* I2S IRQZ */
				<3 RK_PC6 RK_FUNC_GPIO &pcfg_pull_up>;	/* I2S SDZ*/
		};
	};
	
	
	stusb {
		stusb_int: stusb-int {
			rockchip,pins =
				<1 RK_PA5 RK_FUNC_GPIO &pcfg_pull_up>;
		};
	};	  

};



&vp0
{
	vp0_out_hdmi: endpoint@ROCKCHIP_VOP2_EP_HDMI0 
	{
		reg = <ROCKCHIP_VOP2_EP_HDMI0>;
		remote-endpoint = <&hdmi_in_vp0>;
	};

};


&vp1 
{
	vp1_out_lvds: endpoint@ROCKCHIP_VOP2_EP_LVDS0
	{
		reg = <ROCKCHIP_VOP2_EP_LVDS0>;
		remote-endpoint = <&lvds_in_vp1>;
		};

		vp1_out_hdmi: endpoint@ROCKCHIP_VOP2_EP_HDMI0
		{
				reg = <ROCKCHIP_VOP2_EP_HDMI0>;
				remote-endpoint = <&hdmi_in_vp1>;
		};

};

&vp2
{
		vp2_out_lvds: endpoint@ROCKCHIP_VOP2_EP_LVDS0
		{
				reg = <ROCKCHIP_VOP2_EP_LVDS0>;
				remote-endpoint = <&lvds_in_vp2>;
		};
};

